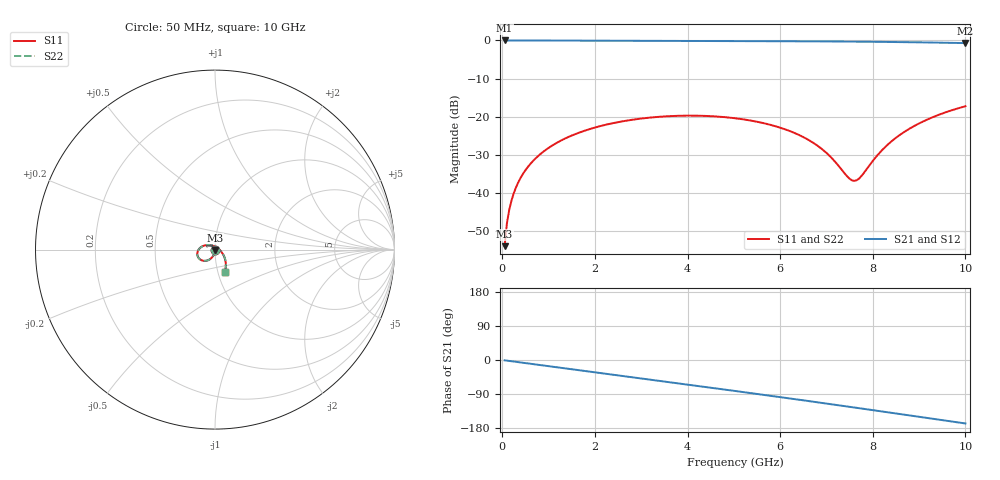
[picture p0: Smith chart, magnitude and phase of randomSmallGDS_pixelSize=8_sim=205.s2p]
! freq	dB(S11)	phase(S11)	dB(S12)	phase(S12)
!  dB(S21)	phase(S21)	dB(S22)	phase(S22)
!S-par simulation data
#  GHz  S  DB  R 50
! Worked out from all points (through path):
!   200 points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, 50 MHz to 10 GHz, reference 50 ohm
!   highest |S21| = 0.00 dB at 50 MHz (marker M1); lowest = -0.7 dB at 10 GHz (marker M2)
!   group delay of S21, straight-line fit = 46.3 ps
!   lowest |S11| = -54.0 dB at 50 MHz (marker M3), VSWR 1.00, Z = 50 - j0.2 ohm
!   |S11| at or under -10 dB: start of sweep to end of sweep
!   |S22| runs from -54.0 to -17.3 dB; largest |S21 - S12| = 0
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0.05  -53.97 -90.5  -0.00 -0.8  -0.00 -0.8  -53.97 -90.5
0.1  -47.95 -91.7  -0.00 -1.7  -0.00 -1.7  -47.96 -91.7
0.15  -44.44 -92.7  -0.01 -2.5  -0.01 -2.5  -44.44 -92.7
0.2  -41.94 -93.6  -0.01 -3.3  -0.01 -3.3  -41.94 -93.6
0.35  -37.10 -96.3  -0.01 -5.7  -0.01 -5.7  -37.10 -96.3
0.5  -34.03 -98.9  -0.01 -8.2  -0.01 -8.2  -34.03 -98.9
0.7  -31.16 -102.3  -0.02 -11.4  -0.02 -11.4  -31.16 -102.3
1  -28.18 -107.3  -0.02 -16.3  -0.02 -16.3  -28.18 -107.3
1.75  -23.79 -119.8  -0.05 -28.4  -0.05 -28.4  -23.79 -119.8
2.5  -21.43 -132.2  -0.07 -40.6  -0.07 -40.6  -21.43 -132.2
3.4  -20.02 -147.1  -0.11 -55.1  -0.11 -55.1  -20.02 -147.2
5.05  -20.44 -176.0  -0.16 -82.1  -0.16 -82.1  -20.44 -176.1
6  -22.88 164.9  -0.20 -97.9  -0.20 -97.9  -22.88 164.7
6.7  -26.74 146.2  -0.23 -109.8  -0.23 -109.8  -26.73 145.9
7  -29.51 133.8  -0.25 -114.9  -0.25 -114.9  -29.48 133.3
7.45  -35.69 90.3  -0.29 -122.7  -0.29 -122.7  -35.54 89.6
7.6  -36.84 59.0  -0.30 -125.3  -0.30 -125.3  -36.62 58.8
7.75  -35.64 27.0  -0.32 -127.9  -0.32 -127.9  -35.46 27.5
8.1  -30.12 -12.3  -0.36 -134.0  -0.36 -134.0  -30.05 -11.7
8.35  -27.04 -25.3  -0.39 -138.4  -0.39 -138.4  -27.00 -24.8
9.05  -21.47 -46.7  -0.50 -150.7  -0.50 -150.7  -21.45 -46.3
10  -17.26 -66.9  -0.69 -167.5  -0.69 -167.5  -17.25 -66.6
